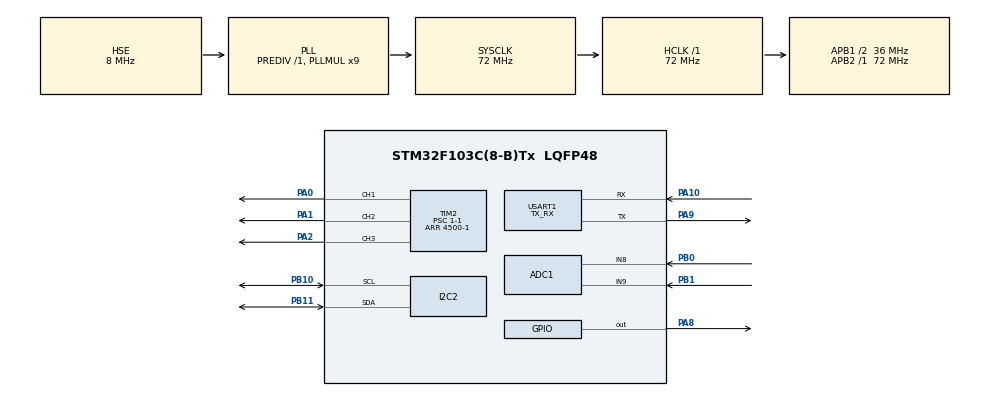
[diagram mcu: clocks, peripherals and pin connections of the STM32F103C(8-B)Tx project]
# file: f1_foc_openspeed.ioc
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ADC1.Channel-0\#ChannelRegularConversion=ADC_CHANNEL_8
ADC1.Channel-1\#ChannelRegularConversion=ADC_CHANNEL_9
ADC1.ContinuousConvMode=DISABLE
ADC1.NbrOfConversion=2
ADC1.NbrOfConversionFlag=1
ADC1.Rank-0\#ChannelRegularConversion=1
ADC1.Rank-1\#ChannelRegularConversion=2
ADC1.SamplingTime-0\#ChannelRegularConversion=ADC_SAMPLETIME_1CYCLE_5
ADC1.SamplingTime-1\#ChannelRegularConversion=ADC_SAMPLETIME_1CYCLE_5
ADC1.master=1
Dma.ADC1.1.Direction=DMA_PERIPH_TO_MEMORY
Dma.ADC1.1.Instance=DMA1_Channel1
Dma.ADC1.1.MemDataAlignment=DMA_MDATAALIGN_HALFWORD
Dma.ADC1.1.MemInc=DMA_MINC_ENABLE
Dma.ADC1.1.Mode=DMA_NORMAL
Dma.ADC1.1.PeriphDataAlignment=DMA_PDATAALIGN_HALFWORD
Dma.ADC1.1.PeriphInc=DMA_PINC_DISABLE
Dma.ADC1.1.Priority=DMA_PRIORITY_LOW
Dma.Request0=USART1_RX
Dma.Request1=ADC1
Dma.USART1_RX.0.Direction=DMA_PERIPH_TO_MEMORY
Dma.USART1_RX.0.Instance=DMA1_Channel5
Dma.USART1_RX.0.MemDataAlignment=DMA_MDATAALIGN_BYTE
Dma.USART1_RX.0.MemInc=DMA_MINC_ENABLE
Dma.USART1_RX.0.Mode=DMA_CIRCULAR
Dma.USART1_RX.0.PeriphDataAlignment=DMA_PDATAALIGN_BYTE
Dma.USART1_RX.0.PeriphInc=DMA_PINC_DISABLE
Dma.USART1_RX.0.Priority=DMA_PRIORITY_LOW
I2C2.I2C_Mode=I2C_Standard
Mcu.Family=STM32F1
Mcu.Name=STM32F103C(8-B)Tx
Mcu.Package=LQFP48
NVIC.DMA1_Channel1_IRQn=true\:0\:0\:false\:false\:true\:false\:true\:true
NVIC.DMA1_Channel5_IRQn=true\:0\:0\:false\:false\:true\:false\:true\:true
NVIC.PriorityGroup=NVIC_PRIORITYGROUP_4
PA0-WKUP.Signal=S_TIM2_CH1_ETR
PA1.Signal=S_TIM2_CH2
PA10.Mode=Asynchronous
PA10.Signal=USART1_RX
PA13.Mode=Serial_Wire
PA13.Signal=SYS_JTMS-SWDIO
PA14.Mode=Serial_Wire
PA14.Signal=SYS_JTCK-SWCLK
PA2.Signal=S_TIM2_CH3
PA8.Signal=GPIO_Output
PA9.Mode=Asynchronous
PA9.Signal=USART1_TX
PB0.Signal=ADCx_IN8
PB1.Signal=ADCx_IN9
PB10.Mode=I2C
PB10.Signal=I2C2_SCL
PB11.Mode=I2C
PB11.Signal=I2C2_SDA
PD0-OSC_IN.Mode=HSE-External-Oscillator
PD0-OSC_IN.Signal=RCC_OSC_IN
PD1-OSC_OUT.Mode=HSE-External-Oscillator
PD1-OSC_OUT.Signal=RCC_OSC_OUT
ProjectManager.HeapSize=0x200
ProjectManager.StackSize=0x400
ProjectManager.TargetToolchain=MDK-ARM V5.32
RCC.ADCPresc=RCC_ADCPCLK2_DIV6
RCC.AHBFreq_Value=72000000
RCC.APB1CLKDivider=RCC_HCLK_DIV2
RCC.APB1Freq_Value=36000000
RCC.APB1TimFreq_Value=72000000
RCC.APB2Freq_Value=72000000
RCC.APB2TimFreq_Value=72000000
RCC.HCLKFreq_Value=72000000
RCC.PLLMUL=RCC_PLL_MUL9
RCC.PLLSourceVirtual=RCC_PLLSOURCE_HSE
RCC.SYSCLKFreq_VALUE=72000000
RCC.SYSCLKSource=RCC_SYSCLKSOURCE_PLLCLK
RCC.USBFreq_Value=72000000
SH.ADCx_IN8.0=ADC1_IN8,IN8
SH.ADCx_IN9.0=ADC1_IN9,IN9
SH.S_TIM2_CH1_ETR.0=TIM2_CH1,PWM Generation1 CH1
SH.S_TIM2_CH2.0=TIM2_CH2,PWM Generation2 CH2
SH.S_TIM2_CH3.0=TIM2_CH3,PWM Generation3 CH3
STMicroelectronics.X-CUBE-ALGOBUILD.1.4.0.LibraryCcDSPOoLibraryJjDSPOoLibrary=true
TIM2.AutoReloadPreload=TIM_AUTORELOAD_PRELOAD_ENABLE
TIM2.Channel-PWM\ Generation1\ CH1=TIM_CHANNEL_1
TIM2.Channel-PWM\ Generation2\ CH2=TIM_CHANNEL_2
TIM2.Channel-PWM\ Generation3\ CH3=TIM_CHANNEL_3
TIM2.Period=4500-1
TIM2.Prescaler=1-1
USART1.Mode=MODE_TX_RX
USART1.VirtualMode=VM_ASYNC
VP_STMicroelectronics.X-CUBE-ALGOBUILD_VS_DSPOoLibraryJjLibrary_1.4.0_1.4.0.Mode=DSPOoLibraryJjLibrary
VP_TIM2_VS_ClockSourceINT.Mode=Internal
board=custom

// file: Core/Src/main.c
/* USER CODE BEGIN Header */
/**
  ******************************************************************************
  * @file           : main.c
  * @brief          : Main program body
  ******************************************************************************
  * @attention
  *
  * Copyright (c) 2025 STMicroelectronics.
  * All rights reserved.
  *
  * This software is licensed under terms that can be found in the LICENSE file
  * in the root directory of this software component.
  * If no LICENSE file comes with this software, it is provided AS-IS.
  *
  ******************************************************************************
  */
/* USER CODE END Header */
#include "main.h"
#include "adc.h"
#include "dma.h"
#include "i2c.h"
#include "tim.h"
#include "usart.h"
#include "gpio.h"

/* USER CODE BEGIN Includes */
#include "foc.h"
#include "pid.h"
#include "AS5600.h"
#include "filter.h"
#include "current.h"
#include "control.h"
extern float angle_d;				//GetAngle_Without_Track()的返回值
extern float angle_cd;
float reload_value;
extern uint16_t Samp_volts[4];
/* USER CODE END Includes */

void SystemClock_Config(void);

/* USER CODE BEGIN 0 */
#include "stdio.h"

extern UART_HandleTypeDef huart1;
   int fputc(int ch, FILE *f)
{
  HAL_UART_Transmit(&huart1, (uint8_t *)&ch, 1, 0xffff);
  return ch;
}

/**
  * 函数功能: 重定向c库函数getchar,scanf到DEBUG_USARTx
  * 输入参数: 无
  * 返 回 值: 无
  * 说    明：无
  */
int fgetc(FILE *f)
{
  uint8_t ch = 0;
  HAL_UART_Receive(&huart1, &ch, 1, 0xffff);
  return ch;
}
float current=0.5;
float Target=2.0;
float Angle=0;
PID_Controller_t velocity_pid;
PID_Controller_t angle_pid;
PID_Controller_t current_pid;
    float target_position = 2.65;  // 目标位置（单位：度）
    float max_velocity = 0.2;    // 最大速度（单位：度/秒）
uint8_t rx_buff[8];
int rxflag=0;
float testa=2.65,testb=0.5;
extern float vel,d;
int flag=1;
/* USER CODE END 0 */

int main(void)
{

  /* MCU Configuration--------------------------------------------------------*/

  /* Reset of all peripherals, Initializes the Flash interface and the Systick. */
  HAL_Init();

  /* Configure the system clock */
  SystemClock_Config();

  /* Initialize all configured peripherals */
  MX_GPIO_Init();
  MX_DMA_Init();
  MX_I2C2_Init();
  MX_TIM2_Init();
  MX_USART1_UART_Init();
  MX_ADC1_Init();
  /* USER CODE BEGIN 2 */
	reload_value = SysTick->LOAD;
  PID_Init(&velocity_pid, 5, 40.0, 0); // 初始化速度 PID
  PID_Init(&angle_pid, 20, 0, 0);    // 初始化角度 PID
//  PID_Init(&velocity_pid, 0.5, 40.0, 0); // 初始化速度 PID
//  PID_Init(&angle_pid, 0.133f, 0.01f, 0.0);    // 初始化角度 PID
	PID_Init(&current_pid, 1.0, 100.0, 0.0);    // 初始化电流 PID
	Motor_en(); //电机使能
	FOC_Init(12);
	printf("1\n");
  HAL_Delay(100);
	HAL_UART_Receive_DMA(&huart1, rx_buff, 6); // 启动DMA接收
//		__HAL_DMA_ENABLE_IT(&hdma_usart1_rx, DMA_IT_TC);
//   HAL_ADC_Start_DMA(&hadc1, (uint32_t *)Samp_volts, 2);
  /* USER CODE END 2 */

  /* Infinite loop */
  /* USER CODE BEGIN WHILE */
  while (1)
  {
		if(flag==0)
		{if(rx_buff[0] == 0xAA && rx_buff[5] == 0xFF)
		{
		  d=(float)(int16_t)(rx_buff[1]<<8|rx_buff[2])/100;
	  	vel=(float)(int16_t)(rx_buff[3]<<8|rx_buff[4])/100;
			memset(rx_buff, 0, sizeof(rx_buff));
      rxflag=1;
		}
    if(rxflag==1)
		{
			control(&target_position,&max_velocity);
      rxflag=0;}}

    M0_Set_Position_Velocity(target_position, max_velocity, &angle_pid, &velocity_pid);
    /* USER CODE END WHILE */

  }
}

void SystemClock_Config(void)
{
  RCC_OscInitTypeDef RCC_OscInitStruct = {0};
  RCC_ClkInitTypeDef RCC_ClkInitStruct = {0};
  RCC_PeriphCLKInitTypeDef PeriphClkInit = {0};

  /** Initializes the RCC Oscillators according to the specified parameters
  * in the RCC_OscInitTypeDef structure.
  */
  RCC_OscInitStruct.OscillatorType = RCC_OSCILLATORTYPE_HSE;
  RCC_OscInitStruct.HSEState = RCC_HSE_ON;
  RCC_OscInitStruct.HSEPredivValue = RCC_HSE_PREDIV_DIV1;
  RCC_OscInitStruct.HSIState = RCC_HSI_ON;
  RCC_OscInitStruct.PLL.PLLState = RCC_PLL_ON;
  RCC_OscInitStruct.PLL.PLLSource = RCC_PLLSOURCE_HSE;
  RCC_OscInitStruct.PLL.PLLMUL = RCC_PLL_MUL9;
  if (HAL_RCC_OscConfig(&RCC_OscInitStruct) != HAL_OK)
  {
    Error_Handler();
  }

  /** Initializes the CPU, AHB and APB buses clocks
  */
  RCC_ClkInitStruct.ClockType = RCC_CLOCKTYPE_HCLK|RCC_CLOCKTYPE_SYSCLK
                              |RCC_CLOCKTYPE_PCLK1|RCC_CLOCKTYPE_PCLK2;
  RCC_ClkInitStruct.SYSCLKSource = RCC_SYSCLKSOURCE_PLLCLK;
  RCC_ClkInitStruct.AHBCLKDivider = RCC_SYSCLK_DIV1;
  RCC_ClkInitStruct.APB1CLKDivider = RCC_HCLK_DIV2;
  RCC_ClkInitStruct.APB2CLKDivider = RCC_HCLK_DIV1;

  if (HAL_RCC_ClockConfig(&RCC_ClkInitStruct, FLASH_LATENCY_2) != HAL_OK)
  {
    Error_Handler();
  }
  PeriphClkInit.PeriphClockSelection = RCC_PERIPHCLK_ADC;
  PeriphClkInit.AdcClockSelection = RCC_ADCPCLK2_DIV6;
  if (HAL_RCCEx_PeriphCLKConfig(&PeriphClkInit) != HAL_OK)
  {
    Error_Handler();
  }
}

void Error_Handler(void)
{
  __disable_irq();
  while (1)
  {
  }
}
